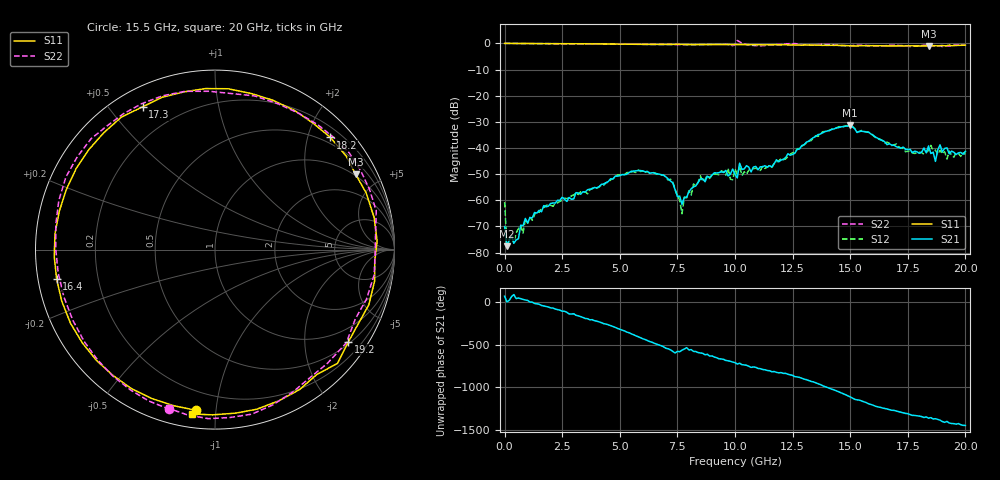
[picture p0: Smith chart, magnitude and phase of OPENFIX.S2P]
!Agilent Technologies,E5071C,MY46107106,A.09.54
!Date: Thu Apr 11 17:06:35 2013
!Data & Calibration Information:
!Freq	S11:SOLT2(ON)	S21:SOLT2(ON)	S12:SOLT2(ON)	S22:SOLT2(ON)
# Hz S MA R 50
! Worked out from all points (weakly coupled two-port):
!   201 points, 300 kHz to 20 GHz, reference 50 ohm
!   highest |S21| = -31.29 dB at 15 GHz (marker M1); lowest = -77.5 dB at 100.3 MHz (marker M2)
!   lowest |S11| = -1.0 dB at 18.4 GHz (marker M3), VSWR 17.01, Z = 47.2 + j189 ohm
!   |S11| at or under -10 dB: nowhere
!   |S22| runs from -1.2 to 1.1 dB; largest |S21 - S12| = 0.0045
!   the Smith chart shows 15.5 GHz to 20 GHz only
!   S11 on the Smith chart (normalised r, x): 15.5 GHz: 0.09, -0.89; 16.4 GHz: 0.05, -0.09; 17.3 GHz: 0.08, +0.61; 18.2 GHz: 0.38, +2.41; 19.2 GHz: 0.56, -3.11; 20 GHz: 0.07, -0.86
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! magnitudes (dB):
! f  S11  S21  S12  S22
! 300 kHz  0.0  -70.0  -60.6  0.0
! 100.3 MHz  0.0  -77.5  -77.4  0.0
! 900.3 MHz  0.0  -66.9  -67.1  0.0
! 3.4 GHz  -0.1  -56.7  -56.8  -0.2
! 6.7 GHz  -0.4  -50.0  -49.8  -0.4
! 7.3 GHz  -0.4  -53.3  -53.0  -0.4
! 7.7 GHz  -0.4  -61.6  -65.1  -0.5
! 7.8 GHz  -0.4  -58.9  -58.8  -0.5
! 8.5 GHz  -0.4  -51.8  -50.7  -0.4
! 10 GHz  -0.4  -50.0  -48.1  -0.4
! 11.6 GHz  -0.5  -47.3  -47.4  -0.6
! 13.4 GHz  -0.6  -36.0  -36.3  -0.6
! 15 GHz  -0.9  -31.3  -31.5  -0.9
! 15.5 GHz  -0.9  -33.6  -33.2  -0.7
! 16.4 GHz  -0.9  -37.1  -37.3  -1.0
! 16.7 GHz  -1.0  -38.4  -38.2  -0.7
! 17.3 GHz  -1.0  -39.7  -40.2  -0.9
! 18.2 GHz  -0.9  -40.0  -42.4  -0.7
! 18.4 GHz  -1.0  -39.2  -40.9  -0.7
! 18.7 GHz  -0.9  -45.1  -40.8  -1.0
! 19.2 GHz  -0.9  -39.9  -44.2  -1.0
! 20 GHz  -0.7  -41.3  -42.4  -0.7
